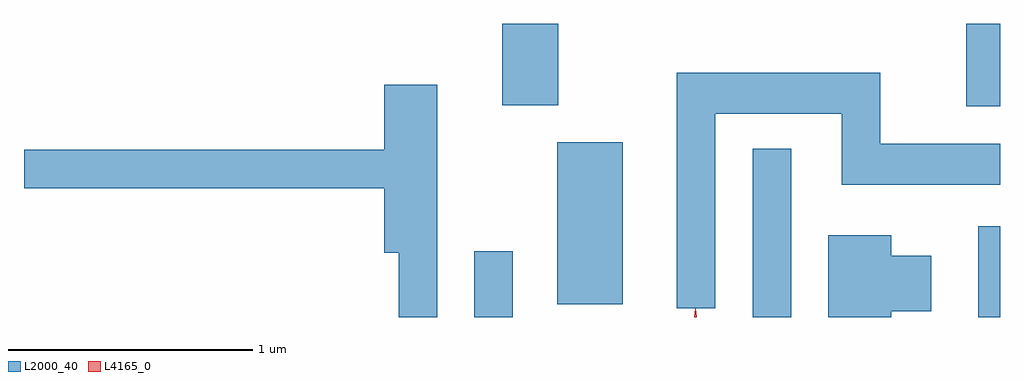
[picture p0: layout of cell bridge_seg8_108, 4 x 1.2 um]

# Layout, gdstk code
import gdstk
lib = gdstk.Library(unit=1e-6, precision=1e-09)
def R(c, l, rs):  # rectangles x0, y0, x1, y1
    for r in rs: c.add(gdstk.rectangle(r[:2], r[2:], *l))
def P(c, l, *ps):  # polygons
    for p in ps: c.add(gdstk.Polygon(p, *l))
L2000_40 = (2000, 40)
L4165_0 = (4165, 0)

bridge_seg8_108 = lib.new_cell('bridge_seg8_108')
R(bridge_seg8_108, L2000_40, [(1563.576,1806.342,1563.734,1806.613), (1564.716,1806.342,1564.874,1807.033), (1565.641,1806.342,1565.73,1806.714), (1563.916,1806.396,1564.184,1807.059), (1565.591,1807.206,1565.73,1807.545), (1563.691,1807.211,1563.919,1807.545)])
P(bridge_seg8_108, L2000_40, [(1564.564,1807.176),(1565.081,1807.176),(1565.081,1806.886),(1565.73,1806.886),(1565.73,1807.054),(1565.239,1807.054),(1565.239,1807.344),(1564.406,1807.344),(1564.406,1806.378),(1564.564,1806.378)],
  [(1563.424,1807.294),(1563.206,1807.294),(1563.206,1807.029),(1561.73,1807.029),(1561.73,1806.871),(1563.206,1806.871),(1563.206,1806.606),(1563.266,1806.606),(1563.266,1806.342),(1563.424,1806.342)],
  [(1565.284,1806.366),(1565.449,1806.366),(1565.449,1806.594),(1565.284,1806.594),(1565.284,1806.679),(1565.026,1806.679),(1565.026,1806.342),(1565.284,1806.342)])
P(bridge_seg8_108, L4165_0, [(1564.477,1806.342),(1564.482,1806.376),(1564.483,1806.376),(1564.487,1806.342)])

lib.write_gds('bridge_seg8_108.gds')
